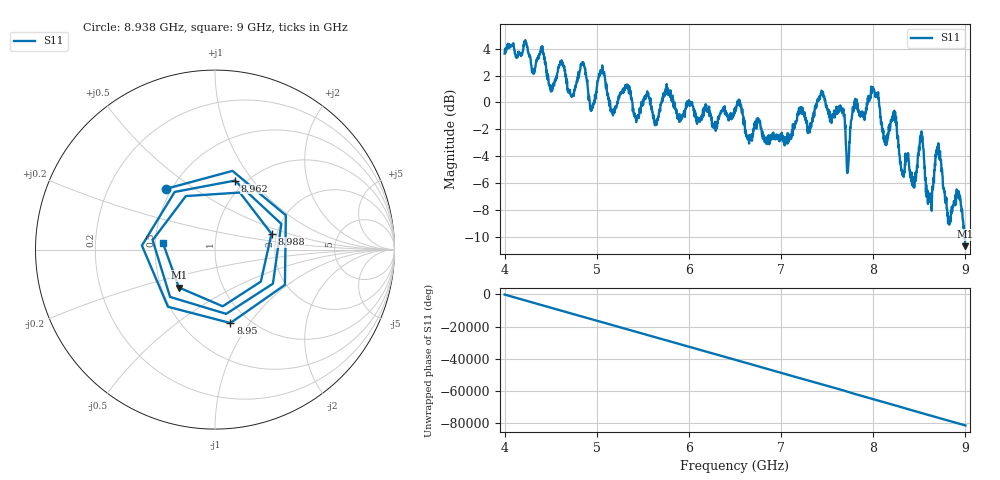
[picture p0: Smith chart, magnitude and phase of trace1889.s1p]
! Created with skrf 1.8.0 (http://scikit-rf.org).
# Hz S RI R 50.0
!freq ReS11 ImS11
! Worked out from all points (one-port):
!   1601 points, 4 GHz to 9 GHz, reference 50 ohm
!   lowest |S11| = -10.7 dB at 8.997 GHz (marker M1), VSWR 1.82, Z = 30.8 - j14.2 ohm
!   |S11| at or under -10 dB: 8.990051 GHz to 8.992988 GHz (2.937 MHz wide, 0.0327 % of centre); 8.994265 GHz to end of sweep
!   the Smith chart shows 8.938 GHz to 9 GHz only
!   S11 on the Smith chart (normalised r, x): 8.938 GHz: 0.47, +0.39; 8.95 GHz: 0.82, -0.82; 8.962 GHz: 0.89, +0.82; 8.988 GHz: 1.87, +0.37; 9 GHz: 0.55, +0.05
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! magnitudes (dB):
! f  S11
! 4 GHz  3.6
! 4.403 GHz  3.8
! 4.506 GHz  0.9
! 4.625 GHz  2.8
! 4.731 GHz  0.5
! 4.85 GHz  3.0
! 4.944 GHz  -0.4
! 5.056 GHz  2.2
! 5.172 GHz  -0.8
! 5.25 GHz  0.6
! 5.875 GHz  -1.2
! 6.5 GHz  -0.5
! 7.125 GHz  -2.5
! 7.444 GHz  0.7
! 7.75 GHz  -1.9
! 8.003 GHz  0.9
! 8.375 GHz  -4.3
! 8.447 GHz  -6.2
! 8.522 GHz  -2.3
! 8.612 GHz  -6.8
! 8.703 GHz  -3.6
! 8.822 GHz  -8.7
! 8.938 GHz  -7.2
! 8.95 GHz  -7.6
! 8.962 GHz  -8.0
! 8.988 GHz  -9.7
! 8.997 GHz  -10.7
! 9 GHz  -10.7
